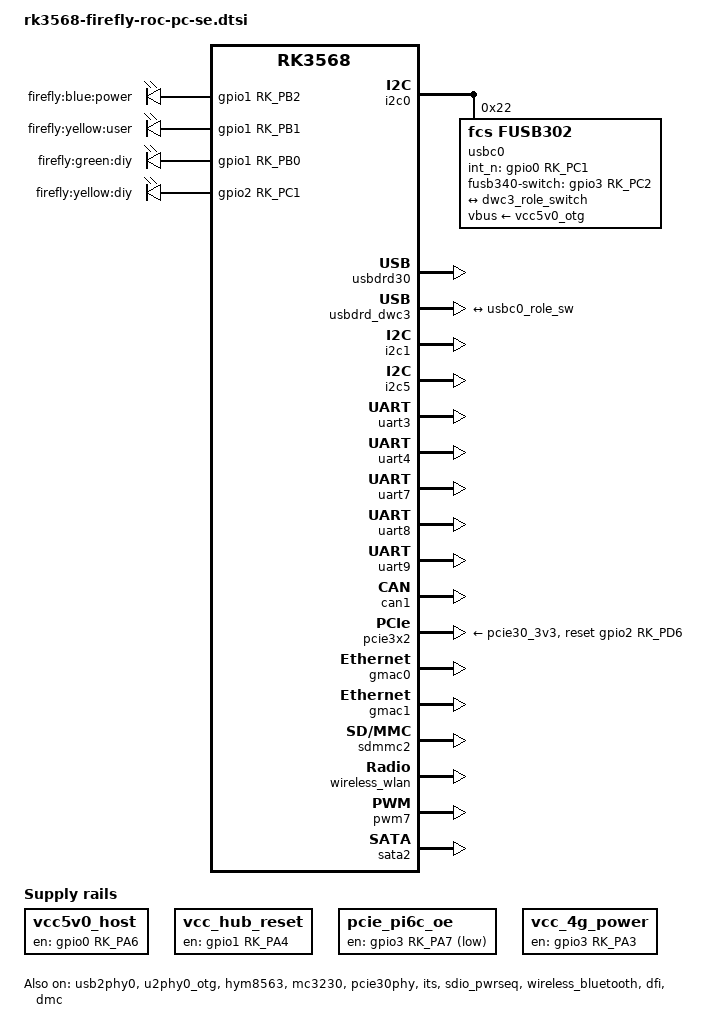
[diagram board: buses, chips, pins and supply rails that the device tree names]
// SPDX-License-Identifier: (GPL-2.0+ OR MIT)
/*
 * Copyright (c) 2020 Rockchip Electronics Co., Ltd.
 *
 */

#include "rk3568-firefly-port.dtsi"
#include "dt-bindings/usb/pd.h"

/ {
    vcc5v0_host: vcc5v0-host-regulator {
		compatible = "regulator-fixed";
		enable-active-high;
		gpio = <&gpio0 RK_PA6 GPIO_ACTIVE_HIGH>;
		pinctrl-names = "default";
		pinctrl-0 = <&vcc5v0_host_en>;
		regulator-name = "vcc5v0_host";
		regulator-always-on;
	};

    vcc_hub_reset: vcc-hub-reset-regulator {
        compatible = "regulator-fixed";
        enable-active-high;
        gpio = <&gpio1 RK_PA4 GPIO_ACTIVE_HIGH>;
        pinctrl-names = "default";
        pinctrl-0 = <&vcc_hub_reset_en>;
        regulator-name = "vcc_hub_reset_en";
        regulator-always-on;
    };

    pcie_pi6c_oe: pcie-pi6c-oe-regulator {
        compatible = "regulator-fixed";
        //enable-active-high;
        gpio = <&gpio3 RK_PA7 GPIO_ACTIVE_LOW>;
        pinctrl-names = "default";
        pinctrl-0 = <&pcie_pi6c_oe_en>;
        regulator-name = "pcie_pi6c_oe_en";
        regulator-always-on;
    };

    vcc_4g_power: vcc-4g-power-regulator {
        compatible = "regulator-fixed";
        enable-active-high;
        gpio = <&gpio3 RK_PA3 GPIO_ACTIVE_HIGH>;
        pinctrl-names = "default";
        pinctrl-0 = <&vcc_4g_power_en>;
        regulator-name = "vcc_4g_power_en";
        regulator-always-on;
    };

    firefly_leds: leds {
        status = "okay";
        compatible = "gpio-leds";
        pinctrl-names = "default";
        pinctrl-0 =<&leds_gpio>;

        power_led: power {
            label = "firefly:blue:power";
            linux,default-trigger = "ir-power-click";
            default-state = "on";
            gpios = <&gpio1 RK_PB2 GPIO_ACTIVE_HIGH>;
        };

        user_led: user {
            label = "firefly:yellow:user";
            linux,default-trigger = "ir-user-click";
            default-state = "off";
            gpios = <&gpio1 RK_PB1 GPIO_ACTIVE_HIGH>;
        };

        diy1_led: diy1 {
            label = "firefly:green:diy";
            linux,default-trigger = "ir-user-click";
            default-state = "off";
            gpios = <&gpio1 RK_PB0 GPIO_ACTIVE_HIGH>;
        };

        diy2_led: diy2 {
            label = "firefly:yellow:diy";
            linux,default-trigger = "ir-user-click";
            default-state = "off";
            gpios = <&gpio2 RK_PC1 GPIO_ACTIVE_HIGH>;
        };
    };

};

/delete-node/ &vcc3v3_vga;

&i2c0 {
    status = "okay";

	usbc0: fusb302@22 {
			compatible = "fcs,fusb302";
			reg = <0x22>;
			interrupt-parent = <&gpio0>; /*修改 */
			//根据 FUSB302 INT 实际连接的 GPIO 进行
			// interrupts = <&gpio0 RK_PC1 IRQ_TYPE_LEVEL_LOW>;
			fcs,int_n = <&gpio0 RK_PC1 IRQ_TYPE_LEVEL_LOW>;
			fusb340-switch-gpios = <&gpio3 RK_PC2 GPIO_ACTIVE_HIGH>;
			pinctrl-names = "default";
			pinctrl-0 = <&usbc0_int>;
			vbus-supply = <&vcc5v0_otg>;
			// vbus-supply = <&vbus_typec>;
			status = "okay";
			ports {
				#address-cells = <1>;
				#size-cells = <0>;
				/*用于关联 USB 控制器,实现 USB 角色切换的功能 */
				port@0 {
					reg = <0>;
					usbc0_role_sw: endpoint@0 {
					remote-endpoint = <&dwc3_role_switch>;
					};
				};
			};
			usb_con: connector { /*用于描述 PD 协议相关信息 */
				compatible = "usb-c-connector";
				label = "USB-C";
				data-role = "dual";
				power-role = "dual";
				try-power-role = "sink";
				op-sink-microwatt = <1000000>;
				sink-pdos =
					<PDO_FIXED(5000, 2500, PDO_FIXED_USB_COMM)>;
				source-pdos =
					<PDO_FIXED(5000, 1500, PDO_FIXED_USB_COMM)>;
			};
		};
};

&usb2phy0 {
    status = "okay";
};

&u2phy0_otg {
    /delete-property/ vbus-supply;
    status = "okay";
};

&usbdrd30 {
	status = "okay";
};

&usbdrd_dwc3 {
	status = "okay";
	usb-role-switch; /*用于使能 DWC3 驱动注册 USB Role Switch 回调函数 */
	port {
		#address-cells = <1>;
		#size-cells = <0>;
		dwc3_role_switch: endpoint@0 {
			reg = <0>;
			/*关联 FUSB302 ,实现USB角色切换的功能 */
			remote-endpoint = <&usbc0_role_sw>; 
		};
	};
};

&i2c1 {
    status = "okay";
};

&i2c5 {
    status = "okay";
};

&hym8563 {
    status = "okay";
};

&mc3230 {
    status = "okay";
};

&uart3 {
    status = "okay";
    pinctrl-0 = <&uart3m1_xfer>;
};

&uart4 {
    status = "okay";
    pinctrl-0 = <&uart4m1_xfer>;
};

&uart7 {
    status = "okay";
    pinctrl-0 = <&uart7m1_xfer>;
};

&uart8 {
    status = "okay";
};

&uart9 {
    status = "okay";
    pinctrl-0 = <&uart9m1_xfer>;
};

&spi1 {
    status = "disabled";
}; 
   
&spi_wk2xxx {
    status = "disabled";
};

&can1{
       status = "okay";
};

&pcie30phy {
    status = "okay";
};

&pcie3x2 {
    reset-gpios = <&gpio2 RK_PD6 GPIO_ACTIVE_HIGH>;
    vpcie3v3-supply = <&pcie30_3v3>;
    status = "okay";
};

&its {
    status = "okay";
};

&vcc3v3_lcd1_n {
    status = "disabled";
};

&gmac0 {
    status = "okay";
    tx_delay = <0x4a>;
    rx_delay = <0x2e>;
    // wolirq-gpio = <&gpio0 RK_PC4 GPIO_ACTIVE_LOW>;
};

&gmac1 {
    status = "okay";
    tx_delay = <0x3e>;
    rx_delay = <0x32>;
    // wolirq-gpio = <&gpio0 RK_PC5 GPIO_ACTIVE_LOW>;
};

&rgmii_phy0 {
    led_status_value = <0x6940>;
}; 
   
&rgmii_phy1 {
    led_status_value = <0x6940>;
}; 


&sdio_pwrseq {
    status = "okay";
    reset-gpios = <&gpio3 RK_PD5 GPIO_ACTIVE_LOW>;
    post-power-on-delay-ms = <100>;
};

/* used for wifi */
&sdmmc2 {
    status = "okay";
};

&wireless_wlan {
    wifi_chip_type = "ap6256";
    status = "okay";
};

&wireless_bluetooth {
    status = "okay";
    BT,wake_gpio     = <&gpio3 RK_PA2 GPIO_ACTIVE_HIGH>;
    BT,wake_host_irq = <&gpio3 RK_PA1 GPIO_ACTIVE_HIGH>;
};

&spdif_8ch{
    status = "disabled";
};

&rk809_codec {
    //hp-det = <&gpio3 RK_PC2 GPIO_ACTIVE_LOW>;
    io-channels = <&saradc 7>;
    hp-det-adc-value = <1000>;
    hp-adc-drift-scope = <100>;
    hp-volume = <3>;
    spk-volume = <3>;
    /delete-property/ spk-ctl-gpios;
};

&rk809 {
    rtc {
        status = "disabled";
    };
};

&pwm7 {
    status = "okay";
};

&sata2 {
    status = "okay";
};

&dfi {
    status = "okay";
};

&dmc {
    status = "okay";
};

&pinctrl {
    usb {
        vcc5v0_host_en: vcc5v0-host-en {
			rockchip,pins = <0 RK_PA6 RK_FUNC_GPIO &pcfg_pull_none>;
		};

        vcc_hub_reset_en: vcc-hub-reset-en {
            rockchip,pins = <1 RK_PA4 RK_FUNC_GPIO &pcfg_pull_none>;
        };
    };

    pcie {
        pcie_pi6c_oe_en: pcie-pi6c-oe-en {
            rockchip,pins = <3 RK_PA7 RK_FUNC_GPIO &pcfg_pull_none>;
        };
    };

    leds {
        leds_gpio: leds-gpio {
            rockchip,pins =
            /* led_power */
            <1 RK_PB2 RK_FUNC_GPIO &pcfg_pull_none>,
            /* led_user */
            <1 RK_PB1 RK_FUNC_GPIO &pcfg_pull_none>,
            /* led diy1 */
            <1 RK_PB0 RK_FUNC_GPIO &pcfg_pull_none>,
            /* led diy2 */
            <2 RK_PC1 RK_FUNC_GPIO &pcfg_pull_none>;
        };
    };

    4g {
        vcc_4g_power_en: vcc-4g-power-en {
            rockchip,pins = <3 RK_PA3 RK_FUNC_GPIO &pcfg_pull_none>;
        };
    };

	usb-typec {
		usbc0_int: usbc0-int { /*配置 FUSB302 驱动的中断 gpio pinctrl */
			rockchip,pins = <0 RK_PC1 RK_FUNC_GPIO &pcfg_pull_up>;
		};
		vcc5v0_typec0_en: vcc5v0-typec0-en { /*配置 FUSB302 驱动的 VBUSgpio pinctrl */
			rockchip,pins =<0 RK_PA5 RK_FUNC_GPIO &pcfg_pull_none>;
		};
	};
};
